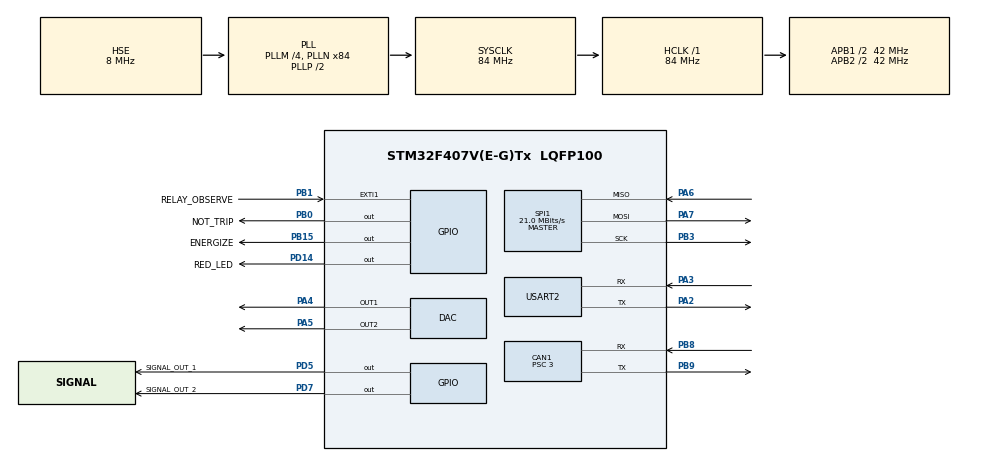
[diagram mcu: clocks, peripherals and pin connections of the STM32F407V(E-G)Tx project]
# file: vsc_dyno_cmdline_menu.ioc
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CAN1.ABOM=ENABLE
CAN1.AWUM=ENABLE
CAN1.BS1=CAN_BS1_11TQ
CAN1.BS2=CAN_BS2_2TQ
CAN1.CalculateBaudRate=1000000
CAN1.CalculateTimeBit=1000
CAN1.CalculateTimeQuantum=71.42857142857143
CAN1.Mode=CAN_MODE_NORMAL
CAN1.NART=ENABLE
CAN1.Prescaler=3
Mcu.Family=STM32F4
Mcu.Name=STM32F407V(E-G)Tx
Mcu.Package=LQFP100
NVIC.CAN1_RX0_IRQn=true\:0\:0\:false\:false\:true\:true\:true\:true
NVIC.CAN1_RX1_IRQn=true\:0\:0\:false\:false\:true\:true\:true\:true
NVIC.CAN1_TX_IRQn=true\:0\:0\:false\:false\:true\:true\:true\:true
NVIC.EXTI1_IRQn=true\:0\:0\:false\:false\:true\:true\:true\:true
NVIC.PriorityGroup=NVIC_PRIORITYGROUP_4
NVIC.TIM6_DAC_IRQn=true\:0\:0\:false\:false\:true\:true\:true\:true
NVIC.TIM7_IRQn=true\:0\:0\:false\:false\:true\:true\:true\:true
NVIC.USART2_IRQn=true\:0\:0\:false\:false\:true\:true\:true\:true
PA2.Mode=Asynchronous
PA2.Signal=USART2_TX
PA3.Mode=Asynchronous
PA3.Signal=USART2_RX
PA4.Signal=COMP_DAC1_group
PA5.Signal=COMP_DAC2_group
PA6.Mode=Full_Duplex_Master
PA6.Signal=SPI1_MISO
PA7.Mode=Full_Duplex_Master
PA7.Signal=SPI1_MOSI
PB0.GPIO_Label=NOT_TRIP
PB0.GPIO_PuPd=GPIO_PULLDOWN
PB0.PinState=GPIO_PIN_RESET
PB0.Signal=GPIO_Output
PB1.GPIO_Label=RELAY_OBSERVE
PB1.GPIO_ModeDefaultEXTI=GPIO_MODE_IT_FALLING
PB1.GPIO_PuPd=GPIO_NOPULL
PB1.Signal=GPXTI1
PB15.GPIO_Label=ENERGIZE
PB15.GPIO_PuPd=GPIO_PULLDOWN
PB15.Signal=GPIO_Output
PB3.Mode=Full_Duplex_Master
PB3.Signal=SPI1_SCK
PB8.Mode=CAN_Activate
PB8.Signal=CAN1_RX
PB9.Mode=CAN_Activate
PB9.Signal=CAN1_TX
PD14.GPIO_Label=RED_LED
PD14.Signal=GPIO_Output
PD5.GPIO_Label=SIGNAL_OUT_1
PD5.GPIO_Speed=GPIO_SPEED_FREQ_HIGH
PD5.Signal=GPIO_Output
PD7.GPIO_Label=SIGNAL_OUT_2
PD7.GPIO_Speed=GPIO_SPEED_FREQ_HIGH
PD7.Signal=GPIO_Output
PH0-OSC_IN.Mode=HSE-External-Oscillator
PH0-OSC_IN.Signal=RCC_OSC_IN
PH1-OSC_OUT.Mode=HSE-External-Oscillator
PH1-OSC_OUT.Signal=RCC_OSC_OUT
ProjectManager.HeapSize=0x200
ProjectManager.StackSize=0x400
ProjectManager.TargetToolchain=STM32CubeIDE
RCC.48MHZClocksFreq_Value=24000000
RCC.AHBFreq_Value=84000000
RCC.APB1CLKDivider=RCC_HCLK_DIV2
RCC.APB1Freq_Value=42000000
RCC.APB1TimFreq_Value=84000000
RCC.APB2CLKDivider=RCC_HCLK_DIV2
RCC.APB2Freq_Value=42000000
RCC.APB2TimFreq_Value=84000000
RCC.CortexFreq_Value=84000000
RCC.EnbaleCSS=true
RCC.HCLKFreq_Value=84000000
RCC.HSE_VALUE=8000000
RCC.HSI_VALUE=16000000
RCC.LSE_VALUE=32768
RCC.PLLM=4
RCC.PLLN=84
RCC.PLLQ=7
RCC.PLLSourceVirtual=RCC_PLLSOURCE_HSE
RCC.SYSCLKFreq_VALUE=84000000
RCC.SYSCLKSource=RCC_SYSCLKSOURCE_PLLCLK
RCC.VCOOutputFreq_Value=168000000
SH.COMP_DAC1_group.0=DAC_OUT1,DAC_OUT1
SH.COMP_DAC2_group.0=DAC_OUT2,DAC_OUT2
SPI1.CalculateBaudRate=21.0 MBits/s
SPI1.Direction=SPI_DIRECTION_2LINES
SPI1.Mode=SPI_MODE_MASTER
SPI1.VirtualType=VM_MASTER
TIM6.Period=60000
TIM6.Prescaler=2799
TIM7.Period=42000
TIM7.Prescaler=1
USART2.VirtualMode=VM_ASYNC
VP_TIM6_VS_ClockSourceINT.Mode=Enable_Timer
VP_TIM7_VS_ClockSourceINT.Mode=Enable_Timer
board=STM32F407G-DISC1

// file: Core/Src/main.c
/* USER CODE BEGIN Header */
/* ------------------ IMPORTANT NOTE ------------------
      IMPORTANT NOTE: IF CODE IS REGENERATED WITH CUBEMX,
      YOU MUST COMMENT OUT THE ENABLE IRQ LINE IN MX_GPIO_INIT
      THE INTERRUPT MUST ONLY BE ENABLED ONCE THE POWER SETTLES, EVERYTHIGN IS POWERED ON AND READY TO GO
      I INCLUDED THE SEQUENCE IN THE enabelMotor() FUNCTION.
  -------------------------------------------------------*/

/* USER CODE END Header */
#include "main.h"

CAN_HandleTypeDef hcan1;

DAC_HandleTypeDef hdac;

SPI_HandleTypeDef hspi1;

TIM_HandleTypeDef htim6;
TIM_HandleTypeDef htim7;

UART_HandleTypeDef huart2;

/* USER CODE BEGIN PV */

// Timers, counters and interrupts
uint32_t one_ms_counter = 0;

// Communication global variables
uint8_t uart_received_character;
uint16_t uart_message_length_counter = 0;
uint8_t uart_reception_complete = false;
char uart_received_message[100];
uint8_t can_message_pending = true;
double can_rx = 0;
volatile bool sample_flag = false;

// Debug functions/variables
void displayMessage(void);

/* USER CODE END PV */

void SystemClock_Config(void);
static void MX_GPIO_Init(void);
static void MX_USART2_UART_Init(void);
static void MX_TIM6_Init(void);
static void MX_TIM7_Init(void);
static void MX_CAN1_Init(void);
static void MX_DAC_Init(void);
static void MX_SPI1_Init(void);
/* USER CODE BEGIN PFP */
void CAN_Filter_Config(void);
void CAN_Start(void);

void enableMotor(void);
void __AttemptEnergizeMotor(void);
void __ConsentToEnergizeMotor(void);
void displayMessage(void);

/* USER CODE END PFP */

int main(void)
{

  /* MCU Configuration--------------------------------------------------------*/

  /* Reset of all peripherals, Initializes the Flash interface and the Systick. */
  HAL_Init();

  /* Configure the system clock */
  SystemClock_Config();

  /* Initialize all configured peripherals */
  MX_GPIO_Init();
  MX_USART2_UART_Init();
  MX_TIM6_Init();
  MX_TIM7_Init();
  MX_CAN1_Init();
  MX_DAC_Init();
  MX_SPI1_Init();
  /* USER CODE BEGIN 2 */
  CAN_Filter_Config();
  CAN_Start();

  setvbuf(stdin, NULL, _IONBF, 0);// Disable buffering for stdin, required for scanf to work

  // 3 lines below disabled for debug

  HAL_Delay(2000);
  printf("Consenting to energize motor...");
  __ConsentToEnergizeMotor();
  HAL_Delay(1000);
  printf(" Done\n\rAttempting to energize motor...");
  __AttemptEnergizeMotor();
  printf("Done");
  HAL_Delay(2000);
  displayMainMenu();
  handleMainMenu(getCharacter());

  /* USER CODE END 2 */

  /* Infinite loop */
  /* USER CODE BEGIN WHILE */
  while (1)
  {
    displayMessage();
    /* USER CODE END WHILE */

  }
}

void SystemClock_Config(void)
{
  RCC_OscInitTypeDef RCC_OscInitStruct = {0};
  RCC_ClkInitTypeDef RCC_ClkInitStruct = {0};

  /** Configure the main internal regulator output voltage
  */
  __HAL_RCC_PWR_CLK_ENABLE();
  __HAL_PWR_VOLTAGESCALING_CONFIG(PWR_REGULATOR_VOLTAGE_SCALE1);

  /** Initializes the RCC Oscillators according to the specified parameters
  * in the RCC_OscInitTypeDef structure.
  */
  RCC_OscInitStruct.OscillatorType = RCC_OSCILLATORTYPE_HSE;
  RCC_OscInitStruct.HSEState = RCC_HSE_ON;
  RCC_OscInitStruct.PLL.PLLState = RCC_PLL_ON;
  RCC_OscInitStruct.PLL.PLLSource = RCC_PLLSOURCE_HSE;
  RCC_OscInitStruct.PLL.PLLM = 4;
  RCC_OscInitStruct.PLL.PLLN = 84;
  RCC_OscInitStruct.PLL.PLLP = RCC_PLLP_DIV2;
  RCC_OscInitStruct.PLL.PLLQ = 7;
  if (HAL_RCC_OscConfig(&RCC_OscInitStruct) != HAL_OK)
  {
    Error_Handler();
  }

  /** Initializes the CPU, AHB and APB buses clocks
  */
  RCC_ClkInitStruct.ClockType = RCC_CLOCKTYPE_HCLK|RCC_CLOCKTYPE_SYSCLK
                              |RCC_CLOCKTYPE_PCLK1|RCC_CLOCKTYPE_PCLK2;
  RCC_ClkInitStruct.SYSCLKSource = RCC_SYSCLKSOURCE_PLLCLK;
  RCC_ClkInitStruct.AHBCLKDivider = RCC_SYSCLK_DIV1;
  RCC_ClkInitStruct.APB1CLKDivider = RCC_HCLK_DIV2;
  RCC_ClkInitStruct.APB2CLKDivider = RCC_HCLK_DIV2;

  if (HAL_RCC_ClockConfig(&RCC_ClkInitStruct, FLASH_LATENCY_2) != HAL_OK)
  {
    Error_Handler();
  }

  /** Enables the Clock Security System
  */
  HAL_RCC_EnableCSS();
}

static void MX_CAN1_Init(void)
{

  hcan1.Instance = CAN1;
  hcan1.Init.Prescaler = 3;
  hcan1.Init.Mode = CAN_MODE_NORMAL;
  hcan1.Init.SyncJumpWidth = CAN_SJW_1TQ;
  hcan1.Init.TimeSeg1 = CAN_BS1_11TQ;
  hcan1.Init.TimeSeg2 = CAN_BS2_2TQ;
  hcan1.Init.TimeTriggeredMode = DISABLE;
  hcan1.Init.AutoBusOff = ENABLE;
  hcan1.Init.AutoWakeUp = ENABLE;
  hcan1.Init.AutoRetransmission = ENABLE;
  hcan1.Init.ReceiveFifoLocked = DISABLE;
  hcan1.Init.TransmitFifoPriority = DISABLE;
  if (HAL_CAN_Init(&hcan1) != HAL_OK)
  {
    Error_Handler();
  }

}

static void MX_DAC_Init(void)
{

  DAC_ChannelConfTypeDef sConfig = {0};

  /** DAC Initialization
  */
  hdac.Instance = DAC;
  if (HAL_DAC_Init(&hdac) != HAL_OK)
  {
    Error_Handler();
  }

  /** DAC channel OUT1 config
  */
  sConfig.DAC_Trigger = DAC_TRIGGER_NONE;
  sConfig.DAC_OutputBuffer = DAC_OUTPUTBUFFER_ENABLE;
  if (HAL_DAC_ConfigChannel(&hdac, &sConfig, DAC_CHANNEL_1) != HAL_OK)
  {
    Error_Handler();
  }

  /** DAC channel OUT2 config
  */
  if (HAL_DAC_ConfigChannel(&hdac, &sConfig, DAC_CHANNEL_2) != HAL_OK)
  {
    Error_Handler();
  }

}

static void MX_SPI1_Init(void)
{

  /* SPI1 parameter configuration*/
  hspi1.Instance = SPI1;
  hspi1.Init.Mode = SPI_MODE_MASTER;
  hspi1.Init.Direction = SPI_DIRECTION_2LINES;
  hspi1.Init.DataSize = SPI_DATASIZE_8BIT;
  hspi1.Init.CLKPolarity = SPI_POLARITY_LOW;
  hspi1.Init.CLKPhase = SPI_PHASE_1EDGE;
  hspi1.Init.NSS = SPI_NSS_SOFT;
  hspi1.Init.BaudRatePrescaler = SPI_BAUDRATEPRESCALER_2;
  hspi1.Init.FirstBit = SPI_FIRSTBIT_MSB;
  hspi1.Init.TIMode = SPI_TIMODE_DISABLE;
  hspi1.Init.CRCCalculation = SPI_CRCCALCULATION_DISABLE;
  hspi1.Init.CRCPolynomial = 10;
  if (HAL_SPI_Init(&hspi1) != HAL_OK)
  {
    Error_Handler();
  }

}

static void MX_TIM6_Init(void)
{

  TIM_MasterConfigTypeDef sMasterConfig = {0};

  htim6.Instance = TIM6;
  htim6.Init.Prescaler = 2799;
  htim6.Init.CounterMode = TIM_COUNTERMODE_UP;
  htim6.Init.Period = 60000;
  htim6.Init.AutoReloadPreload = TIM_AUTORELOAD_PRELOAD_DISABLE;
  if (HAL_TIM_Base_Init(&htim6) != HAL_OK)
  {
    Error_Handler();
  }
  sMasterConfig.MasterOutputTrigger = TIM_TRGO_RESET;
  sMasterConfig.MasterSlaveMode = TIM_MASTERSLAVEMODE_DISABLE;
  if (HAL_TIMEx_MasterConfigSynchronization(&htim6, &sMasterConfig) != HAL_OK)
  {
    Error_Handler();
  }

}

static void MX_TIM7_Init(void)
{

  TIM_MasterConfigTypeDef sMasterConfig = {0};

  htim7.Instance = TIM7;
  htim7.Init.Prescaler = 1;
  htim7.Init.CounterMode = TIM_COUNTERMODE_UP;
  htim7.Init.Period = 42000;
  htim7.Init.AutoReloadPreload = TIM_AUTORELOAD_PRELOAD_DISABLE;
  if (HAL_TIM_Base_Init(&htim7) != HAL_OK)
  {
    Error_Handler();
  }
  sMasterConfig.MasterOutputTrigger = TIM_TRGO_RESET;
  sMasterConfig.MasterSlaveMode = TIM_MASTERSLAVEMODE_DISABLE;
  if (HAL_TIMEx_MasterConfigSynchronization(&htim7, &sMasterConfig) != HAL_OK)
  {
    Error_Handler();
  }

}

static void MX_USART2_UART_Init(void)
{

  huart2.Instance = USART2;
  huart2.Init.BaudRate = 115200;
  huart2.Init.WordLength = UART_WORDLENGTH_8B;
  huart2.Init.StopBits = UART_STOPBITS_1;
  huart2.Init.Parity = UART_PARITY_NONE;
  huart2.Init.Mode = UART_MODE_TX_RX;
  huart2.Init.HwFlowCtl = UART_HWCONTROL_NONE;
  huart2.Init.OverSampling = UART_OVERSAMPLING_16;
  if (HAL_UART_Init(&huart2) != HAL_OK)
  {
    Error_Handler();
  }

}

static void MX_GPIO_Init(void)
{
  GPIO_InitTypeDef GPIO_InitStruct = {0};

  /* GPIO Ports Clock Enable */
  __HAL_RCC_GPIOH_CLK_ENABLE();
  __HAL_RCC_GPIOA_CLK_ENABLE();
  __HAL_RCC_GPIOB_CLK_ENABLE();
  __HAL_RCC_GPIOD_CLK_ENABLE();

  /*Configure GPIO pin Output Level */
  HAL_GPIO_WritePin(GPIOB, NOT_TRIP_Pin|ENERGIZE_Pin, GPIO_PIN_RESET);

  /*Configure GPIO pin Output Level */
  HAL_GPIO_WritePin(GPIOD, RED_LED_Pin|SIGNAL_OUT_1_Pin|SIGNAL_OUT_2_Pin, GPIO_PIN_RESET);

  /*Configure GPIO pins : NOT_TRIP_Pin ENERGIZE_Pin */
  GPIO_InitStruct.Pin = NOT_TRIP_Pin|ENERGIZE_Pin;
  GPIO_InitStruct.Mode = GPIO_MODE_OUTPUT_PP;
  GPIO_InitStruct.Pull = GPIO_PULLDOWN;
  GPIO_InitStruct.Speed = GPIO_SPEED_FREQ_LOW;
  HAL_GPIO_Init(GPIOB, &GPIO_InitStruct);

  /*Configure GPIO pin : RELAY_OBSERVE_Pin */
  GPIO_InitStruct.Pin = RELAY_OBSERVE_Pin;
  GPIO_InitStruct.Mode = GPIO_MODE_IT_FALLING;
  GPIO_InitStruct.Pull = GPIO_NOPULL;
  HAL_GPIO_Init(RELAY_OBSERVE_GPIO_Port, &GPIO_InitStruct);

  /*Configure GPIO pin : RED_LED_Pin */
  GPIO_InitStruct.Pin = RED_LED_Pin;
  GPIO_InitStruct.Mode = GPIO_MODE_OUTPUT_PP;
  GPIO_InitStruct.Pull = GPIO_NOPULL;
  GPIO_InitStruct.Speed = GPIO_SPEED_FREQ_LOW;
  HAL_GPIO_Init(RED_LED_GPIO_Port, &GPIO_InitStruct);

  /*Configure GPIO pins : SIGNAL_OUT_1_Pin SIGNAL_OUT_2_Pin */
  GPIO_InitStruct.Pin = SIGNAL_OUT_1_Pin|SIGNAL_OUT_2_Pin;
  GPIO_InitStruct.Mode = GPIO_MODE_OUTPUT_PP;
  GPIO_InitStruct.Pull = GPIO_NOPULL;
  GPIO_InitStruct.Speed = GPIO_SPEED_FREQ_HIGH;
  HAL_GPIO_Init(GPIOD, &GPIO_InitStruct);

  /* EXTI interrupt init*/
  HAL_NVIC_SetPriority(EXTI1_IRQn, 0, 0);
  HAL_NVIC_EnableIRQ(EXTI1_IRQn);

}

/* USER CODE BEGIN 4 */

void CAN_Start(void)
{
  if(HAL_CAN_ActivateNotification(&hcan1,CAN_IT_TX_MAILBOX_EMPTY | CAN_IT_RX_FIFO0_MSG_PENDING |CAN_IT_BUSOFF) != HAL_OK)
	{
		Error_Handler();
	}

	if( HAL_CAN_Start(&hcan1) != HAL_OK)
	{
		Error_Handler();
	}
}

void CAN_Filter_Config(void)
{
	// Initialize CAN filter setup structure
	CAN_FilterTypeDef CAN1_Filter;

	// Configure CAN reception filter
	CAN1_Filter.FilterActivation = ENABLE;
	CAN1_Filter.FilterBank  = 0;
	CAN1_Filter.FilterFIFOAssignment = CAN_RX_FIFO0;
	CAN1_Filter.FilterIdHigh = 0x0000;
	CAN1_Filter.FilterIdLow = 0x0000;
	CAN1_Filter.FilterMaskIdHigh = 0x0000;
	CAN1_Filter.FilterMaskIdLow = 0x0000;
	CAN1_Filter.FilterMode = CAN_FILTERMODE_IDMASK;
	CAN1_Filter.FilterScale = CAN_FILTERSCALE_32BIT;

	// Set CAN filter configuration and verify settings
	if( HAL_CAN_ConfigFilter(&hcan1,&CAN1_Filter) != HAL_OK)
	{
		Error_Handler();
	}
}

void enableMotor(void){
  //IMPORTANT: ALWAYS DISABLE INTERRUPT BY COMMENTING OUT THE LINES IN THE MX_GPIO_Init FUNCTION
  // CUBE MX automatically enables the interrupt for the pin, so you have to disable it manually
  // if you regenerate the code, make sure they are enabled below and only at this point in the code

  __ConsentToEnergizeMotor();
  __AttemptEnergizeMotor();
}

int __io_putchar(int ch) {
    HAL_UART_Transmit(&huart2, (uint8_t *)&ch, 1, HAL_MAX_DELAY);
    return ch;
}

int fputc(int ch, FILE *f) {
    (void)f; // Cast to void to avoid unused parameter warning
    return __io_putchar(ch);
}

int __io_getchar(void) {
    uint8_t ch = 0;

    /* Clear the Overrun flag just before receiving the first character */
  __HAL_UART_CLEAR_OREFLAG(&huart2);

    HAL_UART_Receive(&huart2, (uint8_t *)&ch, 1, HAL_MAX_DELAY);
    return ch;
}

int fgetc(FILE *f) {
    (void)f; // Cast to void to avoid unused parameter warning
    return __io_getchar();
}

void HAL_GPIO_EXTI_Callback(uint16_t GPIO_Pin)
{
  /*
  if (GPIO_Pin == RELAY_INTERRUPT_Pin)
  {
    // Debounce the interrupt using a moving average filter
    static uint32_t last_interrupt_time = 0;
    static uint32_t debounce_buffer[10] = {0};
    static uint8_t buffer_index = 0;
    uint32_t current_time = HAL_GetTick();

    // Update debounce buffer
    debounce_buffer[buffer_index] = current_time - last_interrupt_time;
    buffer_index = (buffer_index + 1) % 10;

    // Calculate moving average
    uint32_t sum = 0;
    for (uint8_t i = 0; i < 10; i++) {
      sum += debounce_buffer[i];
    }
    uint32_t average_time = sum / 10;

    if (average_time > 200) // 200 ms debounce time
    {
      // Handle the interrupt
      // Disable relay pin
      HAL_GPIO_WritePin(RELAY_SIGNAL_GPIO_Port, RELAY_SIGNAL_Pin, GPIO_PIN_RESET);
      // Turn on red LED
      HAL_GPIO_WritePin(RED_LED_GPIO_Port, RED_LED_Pin, GPIO_PIN_SET);

      // Re-enable interrupts after a short delay
      HAL_Delay(200); // Adjust the delay as needed
      HAL_NVIC_EnableIRQ(EXTI1_IRQn);
    }
    last_interrupt_time = current_time;
  }
  *//*
 if (GPIO_Pin == RELAY_INTERRUPT_Pin)
  {
    // Debounce the interrupt
    static uint32_t last_interrupt_time = 0;
    uint32_t current_time = HAL_GetTick();
    if (current_time - last_interrupt_time > 200) // 200 ms debounce time
    {
      // Disable interrupts
      HAL_NVIC_DisableIRQ(EXTI1_IRQn);
      // Disable relay pin
      HAL_GPIO_WritePin(RELAY_SIGNAL_GPIO_Port, RELAY_SIGNAL_Pin, GPIO_PIN_RESET);
      // Turn on red LED
      HAL_GPIO_WritePin(RED_LED_GPIO_Port, RED_LED_Pin, GPIO_PIN_SET);
      // Lock out forever
      while(1);
    }
    last_interrupt_time = current_time;
  }*/
}

void HAL_CAN_RxFifo0MsgPendingCallback(CAN_HandleTypeDef *hcan){
	//printf("CAN Callback");
	(void)hcan; // Cast to void to avoid unused parameter warning
//most_recent_value_time = HAL_GetTick();
	// Create variable to receive the message
	uint8_t rx_data[7];

	// Create Reception header to configure message reception
	CAN_RxHeaderTypeDef rxHeader;

	// Receive message
	if(HAL_CAN_GetRxMessage(&hcan1,CAN_RX_FIFO0,&rxHeader,rx_data) != HAL_OK){
		Error_Handler();
	}

	//printf(":%d\n\r",rxHeader.StdId);

	if (rxHeader.StdId == TMCM1636_CAN_ID){
		//printf(" (TMCM1636)");
		TMCM1636_CAN_Receive(rx_data);
	}
	if (rxHeader.StdId == ARDUINO_CAN_ID){
		//TODO: turn listening to the strain gauge on/off
		Arduino_CAN_Receive(rx_data);
	}

	else {
	        CAN_RxHeaderTypeDef dummyHdr;
	        uint8_t dummyBuf[7];
	        HAL_CAN_GetRxMessage(&hcan1, CAN_RX_FIFO0, &dummyHdr, dummyBuf);
	    }
}

void HAL_UART_RxCpltCallback(UART_HandleTypeDef *huart)
{
  (void)huart; // Cast to void to avoid unused parameter warning
	// Run when message reception complete through UART
}

void HAL_TIM_PeriodElapsedCallback(TIM_HandleTypeDef *htim)
{
	if(htim->Instance == TIM6)
	{
		HAL_TIM_Base_Stop_IT(&htim6);
	}

	else if(htim->Instance == TIM7)
	{
		one_ms_counter += 1;
		sample_flag = true;
	}
}

void displayMessage(void){
//Wait for reply and store values
while(can_message_pending == true); //Wait for reply and store values
printf("%.0f,", can_rx);
}

void __AttemptEnergizeMotor(void){
	// Private function
	// brings the energize pin high briefly
	HAL_GPIO_WritePin(ENERGIZE_GPIO_Port, ENERGIZE_Pin, GPIO_PIN_SET);
	HAL_Delay(100);
	HAL_GPIO_WritePin(ENERGIZE_GPIO_Port, ENERGIZE_Pin, GPIO_PIN_RESET);
}

void __ConsentToEnergizeMotor(void){
	HAL_GPIO_WritePin(NOT_TRIP_GPIO_Port, NOT_TRIP_Pin, GPIO_PIN_SET);  // bring NOT_TRIP high, ie do not trip the safety circuit
}

/* USER CODE END 4 */

void Error_Handler(void)
{
  __disable_irq();
  while (1)
  {
  }
}
